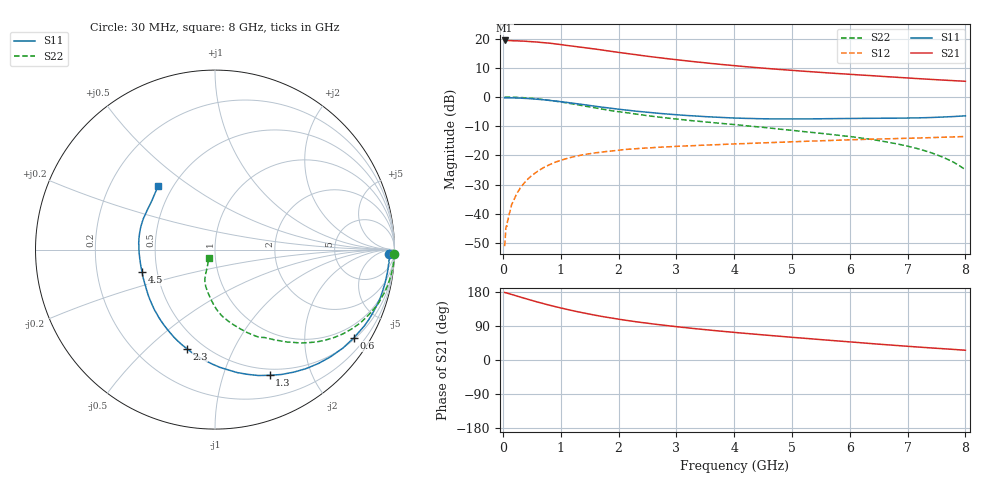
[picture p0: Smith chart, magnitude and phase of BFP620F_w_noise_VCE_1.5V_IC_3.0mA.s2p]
! Infineon Technologies  Discrete & RF Semiconductors
! BFP620F
! VCE =  1.5 V,  IC =  3.0 mA
! Common Emitter S-Parameters:  Dec 2014
# GHz  S  MA  R  50
!  f  S11  S21  S12  S22
! GHz  MAG  ANG  MAG  ANG  MAG  ANG  MAG  ANG
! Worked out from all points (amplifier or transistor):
!   95 points, 30 MHz to 8 GHz, reference 50 ohm
!   highest |S21| = 19.4 dB at 30 MHz (marker M1)
!   |S21| within 3 dB of that: start of sweep to 1.618 GHz
!   unconditionally stable (mu >= 1): 6.084 GHz to end of sweep
!   at 300 MHz: K = 0.04, MSG = 25.2 dB, |S12| = -31.2 dB
!   at 3.3 GHz: K = 0.69, MSG = 14.4 dB, |S12| = -16.6 dB
!   at 8 GHz: K = 1.15, MAG = 7.1 dB, |S12| = -13.5 dB
!   lowest NFmin = 0.51 dB at 450 MHz
!   S11 on the Smith chart (normalised r, x): 30 MHz: 38, -34; 600 MHz: 0.55, -3.35; 1.3 GHz: 0.43, -1.44; 2.3 GHz: 0.41, -0.67; 4.5 GHz: 0.41, -0.12; 8 GHz: 0.41, +0.38
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0.03  0.9711 -1.5  9.318 178.2  0.0028 102.9  0.9987 -1.3
0.04  0.9715 -2.1  9.212 177.7  0.0036 84.1  0.9987 -1.6
0.05  0.9727 -2.8  9.257 177.4  0.0056 99.1  0.9993 -2.0
0.15  0.9681 -8.2  9.262 173.1  0.0143 85.1  0.9951 -5.9
0.35  0.9532 -19.1  9.078 163.9  0.032 79.4  0.9763 -13.7
0.6  0.9163 -32.5  8.735 152.9  0.0535 72.1  0.9296 -23.1
0.8  0.878 -42.9  8.384 144.8  0.0691 66.0  0.8809 -30.1
0.9  0.8569 -47.8  8.155 141.1  0.0763 63.0  0.8533 -33.4
1.1  0.8115 -57.3  7.669 133.9  0.0884 57.7  0.794 -39.5
1.3  0.7637 -66.5  7.243 127.2  0.0988 53.1  0.7354 -44.8
1.4  0.742 -71.0  7.041 124.1  0.1032 51.0  0.707 -47.4
1.6  0.6965 -79.7  6.633 118.1  0.111 47.3  0.6524 -52.1
1.8  0.6567 -87.6  6.212 112.7  0.1173 44.2  0.6039 -56.5
2.3  0.5736 -105.9  5.321 101.0  0.1305 37.6  0.5117 -67.0
2.7  0.5266 -118.3  4.73 93.3  0.1383 33.9  0.4545 -73.3
3.3  0.4763 -135.0  4.045 83.1  0.1473 29.9  0.3913 -81.3
4.1  0.435 -154.2  3.382 71.5  0.1589 25.9  0.3314 -88.7
4.5  0.4249 -163.1  3.131 66.3  0.1642 24.3  0.303 -91.8
5.4  0.4244 178.9  2.687 55.0  0.1771 20.7  0.2454 -99.0
6.7  0.4348 154.5  2.216 39.6  0.1936 15.5  0.166 -109.6
7.4  0.4465 141.5  2.009 31.9  0.2021 13.1  0.1121 -113.5
8  0.477 131.8  1.863 25.8  0.2113 11.0  0.057 -128.8
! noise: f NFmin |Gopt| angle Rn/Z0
0.45  0.51  0.54  10  0.3
0.9  0.6  0.52  20  0.26
1.5  0.69  0.47  29  0.25
1.8  0.73  0.45  32  0.25
1.9  0.74  0.4  43  0.26
2.4  0.81  0.37  57  0.24
3.5  0.96  0.35  80  0.18
5.5  1.2  0.23  149  0.15
6  1.26  0.19  163  0.29
